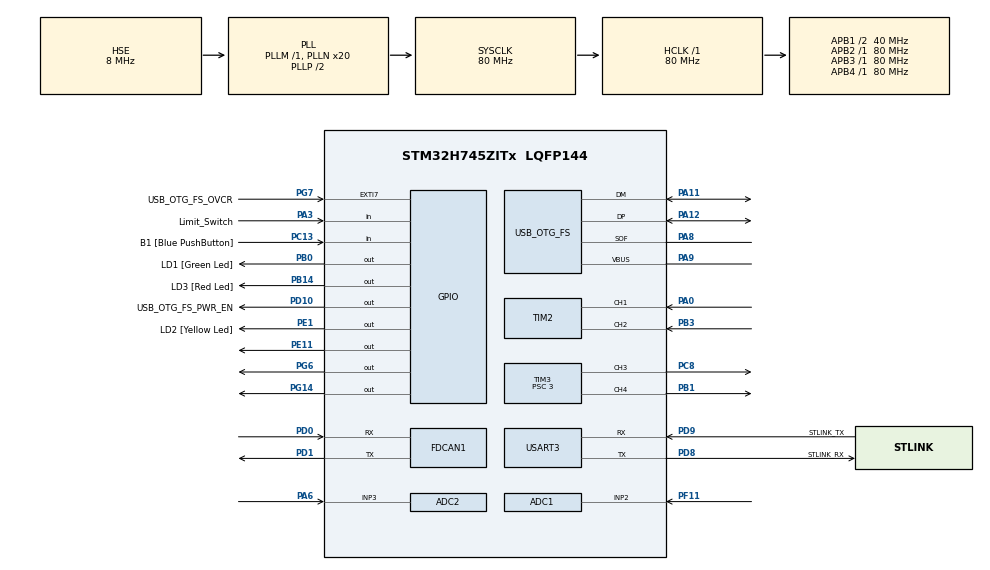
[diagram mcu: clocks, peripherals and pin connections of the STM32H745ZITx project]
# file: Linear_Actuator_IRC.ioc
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ADC1.Channel-0\#ChannelRegularConversion=ADC_CHANNEL_2
ADC1.ContinuousConvMode=ENABLE
ADC1.NbrOfConversionFlag=1
ADC1.OffsetNumber-0\#ChannelRegularConversion=ADC_OFFSET_NONE
ADC1.OffsetSignedSaturation-0\#ChannelRegularConversion=DISABLE
ADC1.Rank-0\#ChannelRegularConversion=1
ADC1.SamplingTime-0\#ChannelRegularConversion=ADC_SAMPLETIME_1CYCLE_5
ADC1.master=1
ADC2.Channel-0\#ChannelRegularConversion=ADC_CHANNEL_3
ADC2.ContinuousConvMode=ENABLE
ADC2.NbrOfConversionFlag=1
ADC2.OffsetNumber-0\#ChannelRegularConversion=ADC_OFFSET_NONE
ADC2.OffsetSignedSaturation-0\#ChannelRegularConversion=DISABLE
ADC2.Rank-0\#ChannelRegularConversion=1
ADC2.SamplingTime-0\#ChannelRegularConversion=ADC_SAMPLETIME_1CYCLE_5
CortexM4.IPs=FATFS_M4\:I,FREERTOS_M4\:I,IWDG2\:I,RCC,WWDG2\:I,DMA,BDMA,MDMA,NVIC2\:I,USART3,ETH,DEBUG,USB_DEVICE_M4\:I,USB_HOST_M4\:I,PDM2PCM_M4\:I,PWR,RESMGR_UTILITY,SYS_M4\:I,CORTEX_M4\:I,OPENAMP_M4\:I,VREFBUF
CortexM7.IPs=FATFS_M7\:I,FREERTOS_M7\:I,IWDG1\:I,RCC\:I,WWDG1\:I,DMA\:I,BDMA\:I,MDMA\:I,NVIC1\:I,SYS\:I,USART3\:I,USB_OTG_FS\:I,ETH\:I,CORTEX_M7\:I,DEBUG\:I,USB_DEVICE_M7\:I,USB_HOST_M7\:I,PDM2PCM_M7\:I,PWR\:I,RESMGR_UTILITY\:I,OPENAMP_M7\:I,VREFBUF\:I,FDCAN1\:I,TIM3\:I,TIM2\:I,ADC1\:I,ADC2\:I
CortexM7.Pins=PC13,PA3,PB0,PE11,PB14,PG6,PG14,PE1
Dma.ADC1.0.Direction=DMA_PERIPH_TO_MEMORY
Dma.ADC1.0.EventEnable=DISABLE
Dma.ADC1.0.FIFOMode=DMA_FIFOMODE_DISABLE
Dma.ADC1.0.Instance=DMA1_Stream0
Dma.ADC1.0.MemDataAlignment=DMA_MDATAALIGN_WORD
Dma.ADC1.0.MemInc=DMA_MINC_ENABLE
Dma.ADC1.0.Mode=DMA_CIRCULAR
Dma.ADC1.0.PeriphDataAlignment=DMA_PDATAALIGN_WORD
Dma.ADC1.0.PeriphInc=DMA_PINC_DISABLE
Dma.ADC1.0.Polarity=HAL_DMAMUX_REQ_GEN_RISING
Dma.ADC1.0.Priority=DMA_PRIORITY_LOW
Dma.ADC1.0.RequestNumber=1
Dma.ADC1.0.SignalID=NONE
Dma.ADC1.0.SyncEnable=DISABLE
Dma.ADC1.0.SyncPolarity=HAL_DMAMUX_SYNC_NO_EVENT
Dma.ADC1.0.SyncRequestNumber=1
Dma.ADC1.0.SyncSignalID=NONE
Dma.ADC2.1.Direction=DMA_PERIPH_TO_MEMORY
Dma.ADC2.1.EventEnable=DISABLE
Dma.ADC2.1.FIFOMode=DMA_FIFOMODE_DISABLE
Dma.ADC2.1.Instance=DMA1_Stream1
Dma.ADC2.1.MemDataAlignment=DMA_MDATAALIGN_HALFWORD
Dma.ADC2.1.MemInc=DMA_MINC_ENABLE
Dma.ADC2.1.Mode=DMA_NORMAL
Dma.ADC2.1.PeriphDataAlignment=DMA_PDATAALIGN_HALFWORD
Dma.ADC2.1.PeriphInc=DMA_PINC_DISABLE
Dma.ADC2.1.Polarity=HAL_DMAMUX_REQ_GEN_RISING
Dma.ADC2.1.Priority=DMA_PRIORITY_LOW
Dma.ADC2.1.RequestNumber=1
Dma.ADC2.1.SignalID=NONE
Dma.ADC2.1.SyncEnable=DISABLE
Dma.ADC2.1.SyncPolarity=HAL_DMAMUX_SYNC_NO_EVENT
Dma.ADC2.1.SyncRequestNumber=1
Dma.ADC2.1.SyncSignalID=NONE
Dma.Request0=ADC1
Dma.Request1=ADC2
FDCAN1.AutoRetransmission=ENABLE
FDCAN1.NominalPrescaler=0x1
FDCAN1.NominalSyncJumpWidth=0x8
FDCAN1.NominalTimeSeg1=0x1F
FDCAN1.NominalTimeSeg2=0x8
FDCAN1.ProtocolException=ENABLE
FDCAN1.RxFifo0ElmtsNbr=1
FDCAN1.StdFiltersNbr=1
FDCAN1.TxFifoQueueElmtsNbr=1
FREERTOS_M7.BinarySemaphores01=controlSempahore,Dynamic,NULL
FREERTOS_M7.Queues01=positionControlQueue,16,position,0,Dynamic,NULL,NULL;positionCanQueue,16,position,0,Dynamic,NULL,NULL;doneQueue,16,status,0,Dynamic,NULL,NULL;systemDiagnosisQueue,16,status,0,Dynamic,NULL,NULL;canDiagnosisQueue,16,status,0,Dynamic,NULL,NULL;desiredPositionQueue,16,position,0,Dynamic,NULL,NULL
FREERTOS_M7.Tasks01=readEncoderTask,24,128,StartEncoderTask,Default,NULL,Dynamic,NULL,NULL;controlTask,24,128,StartControlTask,Default,NULL,Dynamic,NULL,NULL;diagnosisTask,24,128,StartDiagnosisTask,Default,NULL,Dynamic,NULL,NULL;canRxTask,24,128,StartCanRxTask,Default,NULL,Dynamic,NULL,NULL;canTxTask,24,128,StartCanTxTask,Default,NULL,Dynamic,NULL,NULL
Mcu.Family=STM32H7
Mcu.Name=STM32H745ZITx
Mcu.Package=LQFP144
NVIC1.ADC_IRQn=true\:5\:0\:false\:false\:true\:true\:true\:true
NVIC1.DMA1_Stream0_IRQn=true\:5\:0\:false\:false\:true\:true\:false\:true
NVIC1.DMA1_Stream1_IRQn=true\:5\:0\:false\:false\:true\:true\:false\:true
NVIC1.FDCAN1_IT0_IRQn=true\:5\:0\:false\:false\:true\:true\:true\:true
NVIC1.PriorityGroup=NVIC_PRIORITYGROUP_4
NVIC1.TIM2_IRQn=true\:5\:0\:false\:false\:true\:true\:true\:true
NVIC2.PriorityGroup=NVIC_PRIORITYGROUP_4
PA0.GPIO_PuPd=GPIO_PULLUP
PA0.PinAttribute=CortexM7
PA0.Signal=S_TIM2_CH1
PA11.Mode=Device_Only
PA11.PinAttribute=CortexM7
PA11.Signal=USB_OTG_FS_DM
PA12.Mode=Device_Only
PA12.PinAttribute=CortexM7
PA12.Signal=USB_OTG_FS_DP
PA3.GPIO_Label=Limit_Switch
PA3.GPIO_PuPd=GPIO_PULLDOWN
PA3.PinAttribute=CortexM7
PA3.Signal=GPIO_Input
PA6.PinAttribute=CortexM7
PA6.Signal=ADCx_INP3
PA8.Mode=Activate_SOF_FS
PA8.PinAttribute=CortexM7
PA8.Signal=USB_OTG_FS_SOF
PA9.Mode=Activate_VBUS
PA9.PinAttribute=CortexM7
PA9.Signal=USB_OTG_FS_VBUS
PB0.GPIO_Label=LD1 [Green Led]
PB0.PinAttribute=CortexM7
PB0.Signal=GPIO_Output
PB1.PinAttribute=CortexM7
PB1.Signal=S_TIM3_CH4
PB14.GPIO_Label=LD3 [Red Led]
PB14.PinAttribute=CortexM7
PB14.Signal=GPIO_Output
PB3\ (JTDO/TRACESWO).GPIO_PuPd=GPIO_PULLUP
PB3\ (JTDO/TRACESWO).PinAttribute=CortexM7
PB3\ (JTDO/TRACESWO).Signal=S_TIM2_CH2
PC13.GPIO_Label=B1 [Blue PushButton]
PC13.PinAttribute=CortexM7
PC13.Signal=GPIO_Input
PC14-OSC32_IN\ (OSC32_IN).Mode=LSE-External-Oscillator
PC14-OSC32_IN\ (OSC32_IN).PinAttribute=CortexM7
PC14-OSC32_IN\ (OSC32_IN).Signal=RCC_OSC32_IN
PC15-OSC32_OUT\ (OSC32_OUT).Mode=LSE-External-Oscillator
PC15-OSC32_OUT\ (OSC32_OUT).PinAttribute=CortexM7
PC15-OSC32_OUT\ (OSC32_OUT).Signal=RCC_OSC32_OUT
PC8.PinAttribute=CortexM7
PC8.Signal=S_TIM3_CH3
PD0.Mode=FDCAN_Activate
PD0.PinAttribute=CortexM7
PD0.Signal=FDCAN1_RX
PD1.Mode=FDCAN_Activate
PD1.PinAttribute=CortexM7
PD1.Signal=FDCAN1_TX
PD10.GPIO_Label=USB_OTG_FS_PWR_EN
PD10.PinAttribute=Free
PD10.Signal=GPIO_Output
PD8.GPIO_Label=STLINK_RX
PD8.Mode=Asynchronous
PD8.PinAttribute=CortexM7
PD8.Signal=USART3_TX
PD9.GPIO_Label=STLINK_TX
PD9.Mode=Asynchronous
PD9.PinAttribute=CortexM7
PD9.Signal=USART3_RX
PE1.GPIO_Label=LD2 [Yellow Led]
PE1.PinAttribute=CortexM7
PE1.Signal=GPIO_Output
PE11.PinAttribute=CortexM7
PE11.Signal=GPIO_Output
PF11.Mode=IN2-Single-Ended
PF11.PinAttribute=CortexM7
PF11.Signal=ADC1_INP2
PG14.PinAttribute=CortexM7
PG14.Signal=GPIO_Output
PG6.PinAttribute=CortexM7
PG6.Signal=GPIO_Output
PG7.GPIO_Label=USB_OTG_FS_OVCR
PG7.PinAttribute=Free
PG7.Signal=GPXTI7
PH0-OSC_IN\ (PH0).Mode=HSE-External-Clock-Source
PH0-OSC_IN\ (PH0).PinAttribute=CortexM7
PH0-OSC_IN\ (PH0).Signal=RCC_OSC_IN
PH1-OSC_OUT\ (PH1).PinAttribute=CortexM7
PH1-OSC_OUT\ (PH1).Signal=RCC_OSC_OUT
ProjectManager.HeapSize=M4-0x200,M7-0x200
ProjectManager.StackSize=M4-0x400,M7-0x400
ProjectManager.TargetToolchain=STM32CubeIDE
RCC.ADCFreq_Value=37500000
RCC.APB1Freq_Value=40000000
RCC.APB2Freq_Value=80000000
RCC.APB3Freq_Value=80000000
RCC.APB4Freq_Value=80000000
RCC.CortexFreq_Value=80000000
RCC.D2PPRE1=RCC_APB1_DIV2
RCC.DIVM1=1
RCC.DIVM2=1
RCC.DIVM3=1
RCC.DIVN1=20
RCC.DIVN2=18
RCC.DIVN3=18
RCC.DIVP2=4
RCC.DIVQ1=4
RCC.DIVQ3=3
RCC.HCLKFreq_Value=80000000
RCC.HSE_VALUE=8000000
RCC.PLL2FRACN=6144
RCC.PLL3FRACN=6144
RCC.PLL3_VCI_Range-AdvancedSettings=RCC_PLL3VCIRANGE_0
RCC.PLLFRACN=0
RCC.SYSCLKFreq_VALUE=80000000
RCC.SYSCLKSource=RCC_SYSCLKSOURCE_PLLCLK
RCC.SupplySource=PWR_DIRECT_SMPS_SUPPLY
RCC.USBCLockSelection=RCC_USBCLKSOURCE_PLL3
RCC.USBFreq_Value=50000000
SH.ADCx_INP3.0=ADC2_INP3,IN3-Single-Ended
SH.S_TIM2_CH1.0=TIM2_CH1,Encoder_Interface
SH.S_TIM2_CH2.0=TIM2_CH2,Encoder_Interface
SH.S_TIM3_CH3.0=TIM3_CH3,PWM Generation3 CH3
SH.S_TIM3_CH4.0=TIM3_CH4,PWM Generation4 CH4
TIM2.IC1Filter=10
TIM2.IC2Filter=10
TIM3.Channel-PWM\ Generation3\ CH3=TIM_CHANNEL_3
TIM3.Channel-PWM\ Generation4\ CH4=TIM_CHANNEL_4
TIM3.Period=999
TIM3.Prescaler=3
USART3.VirtualMode-Asynchronous=VM_ASYNC
USB_OTG_FS.VirtualMode=Device_Only
VP_FREERTOS_M7_VS_CMSIS_V2.Mode=CMSIS_V2
VP_SYS_M4_VS_Systick.Mode=SysTick
board=NUCLEO-H745ZI-Q

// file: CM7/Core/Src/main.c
/* USER CODE BEGIN Header */
/**
 ******************************************************************************
 * @file           : main.c
 * @brief          : Main program body
 ******************************************************************************
 * @attention
 *
 * <h2><center>&copy; Copyright (c) 2021 STMicroelectronics.
 * All rights reserved.</center></h2>
 *
 * This software component is licensed by ST under Ultimate Liberty license
 * SLA0044, the "License"; You may not use this file except in compliance with
 * the License. You may obtain a copy of the License at:
 *                             www.st.com/SLA0044
 *
 ******************************************************************************
 */
/* USER CODE END Header */
#include "main.h"
#include "cmsis_os.h"

/* USER CODE BEGIN Includes */
#include <string.h>
/* USER CODE END Includes */

/* USER CODE BEGIN PD */
#define forwardPWM TIM_CHANNEL_3
#define reversePWM TIM_CHANNEL_4

#ifndef HSEM_ID_0
#define HSEM_ID_0 (0U) /* HW semaphore 0*/
#endif
/* USER CODE END PD */

ADC_HandleTypeDef hadc1;
ADC_HandleTypeDef hadc2;
DMA_HandleTypeDef hdma_adc1;
DMA_HandleTypeDef hdma_adc2;

FDCAN_HandleTypeDef hfdcan1;

TIM_HandleTypeDef htim2;
TIM_HandleTypeDef htim3;

UART_HandleTypeDef huart3;

PCD_HandleTypeDef hpcd_USB_OTG_FS;

/* Definitions for readEncoderTask */
osThreadId_t readEncoderTaskHandle;
const osThreadAttr_t readEncoderTask_attributes = {
  .name = "readEncoderTask",
  .stack_size = 128 * 4,
  .priority = (osPriority_t) osPriorityNormal,
};
/* Definitions for controlTask */
osThreadId_t controlTaskHandle;
const osThreadAttr_t controlTask_attributes = {
  .name = "controlTask",
  .stack_size = 128 * 4,
  .priority = (osPriority_t) osPriorityAboveNormal,
};
/* Definitions for diagnosisTask */
osThreadId_t diagnosisTaskHandle;
const osThreadAttr_t diagnosisTask_attributes = {
  .name = "diagnosisTask",
  .stack_size = 128 * 4,
  .priority = (osPriority_t) osPriorityNormal,
};
/* Definitions for canRxTask */
osThreadId_t canRxTaskHandle;
const osThreadAttr_t canRxTask_attributes = {
  .name = "canRxTask",
  .stack_size = 128 * 4,
  .priority = (osPriority_t) osPriorityNormal,
};
/* Definitions for canTxTask */
osThreadId_t canTxTaskHandle;
const osThreadAttr_t canTxTask_attributes = {
  .name = "canTxTask",
  .stack_size = 128 * 4,
  .priority = (osPriority_t) osPriorityNormal,
};
/* Definitions for positionControlQueue */
osMessageQueueId_t positionControlQueueHandle;
const osMessageQueueAttr_t positionControlQueue_attributes = {
  .name = "positionControlQueue"
};
/* Definitions for positionCanQueue */
osMessageQueueId_t positionCanQueueHandle;
const osMessageQueueAttr_t positionCanQueue_attributes = {
  .name = "positionCanQueue"
};
/* Definitions for doneQueue */
osMessageQueueId_t doneQueueHandle;
const osMessageQueueAttr_t doneQueue_attributes = {
  .name = "doneQueue"
};
/* Definitions for systemDiagnosisQueue */
osMessageQueueId_t systemDiagnosisQueueHandle;
const osMessageQueueAttr_t systemDiagnosisQueue_attributes = {
  .name = "systemDiagnosisQueue"
};
/* Definitions for canDiagnosisQueue */
osMessageQueueId_t canDiagnosisQueueHandle;
const osMessageQueueAttr_t canDiagnosisQueue_attributes = {
  .name = "canDiagnosisQueue"
};
/* Definitions for desiredPositionQueue */
osMessageQueueId_t desiredPositionQueueHandle;
const osMessageQueueAttr_t desiredPositionQueue_attributes = {
  .name = "desiredPositionQueue"
};
/* Definitions for controlSempahore */
osSemaphoreId_t controlSempahoreHandle;
const osSemaphoreAttr_t controlSempahore_attributes = {
  .name = "controlSempahore"
};
/* USER CODE BEGIN PV */

//FDCAN variables
FDCAN_RxHeaderTypeDef RxHeader;
uint8_t RxData[8];
FDCAN_TxHeaderTypeDef TxHeader;
uint8_t TxData[8] = {'J', ' ', 'D', 'E', 'E', 'R', 'E', '.'};
uint8_t TxDataInit[8] = {' ', ' ', ' ', ' ', ' ', ' ', ' ', ' '};
uint8_t TxDataError[8] = {0x00, 0x00, 0x00, 0xFF, 0xFF, 0x00, 0x00, 0x00};
uint8_t TxDataPos[8] = {0x00, 0x00, 0x00, 0x00, 0x00, 0x00, 0x00, 0x00};
FDCAN_FilterTypeDef sFilterConfig;

//ADC reeding variables
uint32_t adc_vol;
uint32_t adc_cor;
float current;
float voltage;
float maxValue;
float minValue;

//Encoder reeding variables
//Conv is the distance per rotation (in mm) of the arrow dividen by 2
//This is because the encoder mode is couting 2 by one step
uint16_t conv = 4;
//ppr is the number of steps to complete one revolution with the reduction
uint16_t ppr = 497;

typedef struct {                                // object data type
	uint16_t pos;
} position;

typedef struct{
	uint16_t statusflag;
} status;

/* USER CODE END PV */

void SystemClock_Config(void);
void PeriphCommonClock_Config(void);
static void MX_GPIO_Init(void);
static void MX_FDCAN1_Init(void);
static void MX_TIM2_Init(void);
static void MX_TIM3_Init(void);
static void MX_USART3_UART_Init(void);
static void MX_USB_OTG_FS_PCD_Init(void);
static void MX_DMA_Init(void);
static void MX_ADC1_Init(void);
static void MX_ADC2_Init(void);
void StartEncoderTask(void *argument);
void StartControlTask(void *argument);
void StartDiagnosisTask(void *argument);
void StartCanRxTask(void *argument);
void StartCanTxTask(void *argument);

/* USER CODE BEGIN PFP */

void GoHome(void);
void setPWM(TIM_HandleTypeDef, uint32_t, uint16_t, uint16_t);

/* USER CODE END PFP */

int main(void)
{
/* USER CODE BEGIN Boot_Mode_Sequence_0 */
	int32_t timeout;
/* USER CODE END Boot_Mode_Sequence_0 */

/* USER CODE BEGIN Boot_Mode_Sequence_1 */
	/* Wait until CPU2 boots and enters in stop mode or timeout*/
	timeout = 0xFFFF;
	while ((__HAL_RCC_GET_FLAG(RCC_FLAG_D2CKRDY) != RESET) && (timeout-- > 0))
		;
	if (timeout < 0) {
		Error_Handler();
	}
/* USER CODE END Boot_Mode_Sequence_1 */
  /* MCU Configuration--------------------------------------------------------*/

  /* Reset of all peripherals, Initializes the Flash interface and the Systick. */
  HAL_Init();

  /* Configure the system clock */
  SystemClock_Config();

/* Configure the peripherals common clocks */
  PeriphCommonClock_Config();
/* USER CODE BEGIN Boot_Mode_Sequence_2 */
	/* When system initialization is finished, Cortex-M7 will release Cortex-M4 by means of
	 HSEM notification */
	/*HW semaphore Clock enable*/
	__HAL_RCC_HSEM_CLK_ENABLE();
	/*Take HSEM */
	HAL_HSEM_FastTake(HSEM_ID_0);
	/*Release HSEM in order to notify the CPU2(CM4)*/
	HAL_HSEM_Release(HSEM_ID_0, 0);
	/* wait until CPU2 wakes up from stop mode */
	timeout = 0xFFFF;
	while ((__HAL_RCC_GET_FLAG(RCC_FLAG_D2CKRDY) == RESET) && (timeout-- > 0))
		;
	if (timeout < 0) {
		Error_Handler();
	}
/* USER CODE END Boot_Mode_Sequence_2 */

  /* Initialize all configured peripherals */
  MX_GPIO_Init();
  MX_FDCAN1_Init();
  MX_TIM2_Init();
  MX_TIM3_Init();
  MX_USART3_UART_Init();
  MX_USB_OTG_FS_PCD_Init();
  MX_DMA_Init();
  MX_ADC1_Init();
  MX_ADC2_Init();
  /* USER CODE BEGIN 2 */

	for(int i=0; i<2; i++){
		HAL_GPIO_TogglePin(LD1_GPIO_Port,LD1_Pin);
		if (HAL_FDCAN_AddMessageToTxFifoQ(&hfdcan1, &TxHeader, TxDataInit) != HAL_OK){
			Error_Handler();
		}
		else{
			HAL_GPIO_TogglePin(LD3_GPIO_Port,LD3_Pin);
		}
		HAL_Delay(500);

	}

	GoHome();

  /* USER CODE END 2 */

  /* Init scheduler */
  osKernelInitialize();

  /* Create the semaphores(s) */
  /* creation of controlSempahore */
  controlSempahoreHandle = osSemaphoreNew(1, 1, &controlSempahore_attributes);

  /* Create the queue(s) */
  /* creation of positionControlQueue */
  positionControlQueueHandle = osMessageQueueNew (16, sizeof(position), &positionControlQueue_attributes);

  /* creation of positionCanQueue */
  positionCanQueueHandle = osMessageQueueNew (16, sizeof(position), &positionCanQueue_attributes);

  /* creation of doneQueue */
  doneQueueHandle = osMessageQueueNew (16, sizeof(status), &doneQueue_attributes);

  /* creation of systemDiagnosisQueue */
  systemDiagnosisQueueHandle = osMessageQueueNew (16, sizeof(status), &systemDiagnosisQueue_attributes);

  /* creation of canDiagnosisQueue */
  canDiagnosisQueueHandle = osMessageQueueNew (16, sizeof(status), &canDiagnosisQueue_attributes);

  /* creation of desiredPositionQueue */
  desiredPositionQueueHandle = osMessageQueueNew (16, sizeof(position), &desiredPositionQueue_attributes);

  /* Create the thread(s) */
  /* creation of readEncoderTask */
  readEncoderTaskHandle = osThreadNew(StartEncoderTask, NULL, &readEncoderTask_attributes);

  /* creation of controlTask */
  controlTaskHandle = osThreadNew(StartControlTask, NULL, &controlTask_attributes);

  /* creation of diagnosisTask */
  diagnosisTaskHandle = osThreadNew(StartDiagnosisTask, NULL, &diagnosisTask_attributes);

  /* creation of canRxTask */
  canRxTaskHandle = osThreadNew(StartCanRxTask, NULL, &canRxTask_attributes);

  /* creation of canTxTask */
  canTxTaskHandle = osThreadNew(StartCanTxTask, NULL, &canTxTask_attributes);

  /* Start scheduler */
  osKernelStart();

  /* We should never get here as control is now taken by the scheduler */
  /* Infinite loop */
	while (1) {

	}
}

void SystemClock_Config(void)
{
  RCC_OscInitTypeDef RCC_OscInitStruct = {0};
  RCC_ClkInitTypeDef RCC_ClkInitStruct = {0};

  /** Supply configuration update enable
  */
  HAL_PWREx_ConfigSupply(PWR_DIRECT_SMPS_SUPPLY);
  /** Configure the main internal regulator output voltage
  */
  __HAL_PWR_VOLTAGESCALING_CONFIG(PWR_REGULATOR_VOLTAGE_SCALE3);

  while(!__HAL_PWR_GET_FLAG(PWR_FLAG_VOSRDY)) {}
  /** Macro to configure the PLL clock source
  */
  __HAL_RCC_PLL_PLLSOURCE_CONFIG(RCC_PLLSOURCE_HSE);
  /** Initializes the RCC Oscillators according to the specified parameters
  * in the RCC_OscInitTypeDef structure.
  */
  RCC_OscInitStruct.OscillatorType = RCC_OSCILLATORTYPE_HSE;
  RCC_OscInitStruct.HSEState = RCC_HSE_BYPASS;
  RCC_OscInitStruct.PLL.PLLState = RCC_PLL_ON;
  RCC_OscInitStruct.PLL.PLLSource = RCC_PLLSOURCE_HSE;
  RCC_OscInitStruct.PLL.PLLM = 1;
  RCC_OscInitStruct.PLL.PLLN = 20;
  RCC_OscInitStruct.PLL.PLLP = 2;
  RCC_OscInitStruct.PLL.PLLQ = 4;
  RCC_OscInitStruct.PLL.PLLR = 2;
  RCC_OscInitStruct.PLL.PLLRGE = RCC_PLL1VCIRANGE_3;
  RCC_OscInitStruct.PLL.PLLVCOSEL = RCC_PLL1VCOMEDIUM;
  RCC_OscInitStruct.PLL.PLLFRACN = 0;
  if (HAL_RCC_OscConfig(&RCC_OscInitStruct) != HAL_OK)
  {
    Error_Handler();
  }
  /** Initializes the CPU, AHB and APB buses clocks
  */
  RCC_ClkInitStruct.ClockType = RCC_CLOCKTYPE_HCLK|RCC_CLOCKTYPE_SYSCLK
                              |RCC_CLOCKTYPE_PCLK1|RCC_CLOCKTYPE_PCLK2
                              |RCC_CLOCKTYPE_D3PCLK1|RCC_CLOCKTYPE_D1PCLK1;
  RCC_ClkInitStruct.SYSCLKSource = RCC_SYSCLKSOURCE_PLLCLK;
  RCC_ClkInitStruct.SYSCLKDivider = RCC_SYSCLK_DIV1;
  RCC_ClkInitStruct.AHBCLKDivider = RCC_HCLK_DIV1;
  RCC_ClkInitStruct.APB3CLKDivider = RCC_APB3_DIV1;
  RCC_ClkInitStruct.APB1CLKDivider = RCC_APB1_DIV2;
  RCC_ClkInitStruct.APB2CLKDivider = RCC_APB2_DIV1;
  RCC_ClkInitStruct.APB4CLKDivider = RCC_APB4_DIV1;

  if (HAL_RCC_ClockConfig(&RCC_ClkInitStruct, FLASH_LATENCY_1) != HAL_OK)
  {
    Error_Handler();
  }
}

void PeriphCommonClock_Config(void)
{
  RCC_PeriphCLKInitTypeDef PeriphClkInitStruct = {0};

  /** Initializes the peripherals clock
  */
  PeriphClkInitStruct.PeriphClockSelection = RCC_PERIPHCLK_ADC;
  PeriphClkInitStruct.PLL2.PLL2M = 1;
  PeriphClkInitStruct.PLL2.PLL2N = 18;
  PeriphClkInitStruct.PLL2.PLL2P = 4;
  PeriphClkInitStruct.PLL2.PLL2Q = 2;
  PeriphClkInitStruct.PLL2.PLL2R = 2;
  PeriphClkInitStruct.PLL2.PLL2RGE = RCC_PLL2VCIRANGE_3;
  PeriphClkInitStruct.PLL2.PLL2VCOSEL = RCC_PLL2VCOMEDIUM;
  PeriphClkInitStruct.PLL2.PLL2FRACN = 6144;
  PeriphClkInitStruct.AdcClockSelection = RCC_ADCCLKSOURCE_PLL2;
  if (HAL_RCCEx_PeriphCLKConfig(&PeriphClkInitStruct) != HAL_OK)
  {
    Error_Handler();
  }
}

static void MX_ADC1_Init(void)
{

  ADC_MultiModeTypeDef multimode = {0};
  ADC_ChannelConfTypeDef sConfig = {0};

  /** Common config
  */
  hadc1.Instance = ADC1;
  hadc1.Init.ClockPrescaler = ADC_CLOCK_ASYNC_DIV1;
  hadc1.Init.Resolution = ADC_RESOLUTION_16B;
  hadc1.Init.ScanConvMode = ADC_SCAN_DISABLE;
  hadc1.Init.EOCSelection = ADC_EOC_SINGLE_CONV;
  hadc1.Init.LowPowerAutoWait = DISABLE;
  hadc1.Init.ContinuousConvMode = ENABLE;
  hadc1.Init.NbrOfConversion = 1;
  hadc1.Init.DiscontinuousConvMode = DISABLE;
  hadc1.Init.ExternalTrigConv = ADC_SOFTWARE_START;
  hadc1.Init.ExternalTrigConvEdge = ADC_EXTERNALTRIGCONVEDGE_NONE;
  hadc1.Init.ConversionDataManagement = ADC_CONVERSIONDATA_DR;
  hadc1.Init.Overrun = ADC_OVR_DATA_PRESERVED;
  hadc1.Init.LeftBitShift = ADC_LEFTBITSHIFT_NONE;
  hadc1.Init.OversamplingMode = DISABLE;
  if (HAL_ADC_Init(&hadc1) != HAL_OK)
  {
    Error_Handler();
  }
  /** Configure the ADC multi-mode
  */
  multimode.Mode = ADC_MODE_INDEPENDENT;
  if (HAL_ADCEx_MultiModeConfigChannel(&hadc1, &multimode) != HAL_OK)
  {
    Error_Handler();
  }
  /** Configure Regular Channel
  */
  sConfig.Channel = ADC_CHANNEL_2;
  sConfig.Rank = ADC_REGULAR_RANK_1;
  sConfig.SamplingTime = ADC_SAMPLETIME_1CYCLE_5;
  sConfig.SingleDiff = ADC_SINGLE_ENDED;
  sConfig.OffsetNumber = ADC_OFFSET_NONE;
  sConfig.Offset = 0;
  sConfig.OffsetSignedSaturation = DISABLE;
  if (HAL_ADC_ConfigChannel(&hadc1, &sConfig) != HAL_OK)
  {
    Error_Handler();
  }

}

static void MX_ADC2_Init(void)
{

  ADC_ChannelConfTypeDef sConfig = {0};

  /** Common config
  */
  hadc2.Instance = ADC2;
  hadc2.Init.ClockPrescaler = ADC_CLOCK_ASYNC_DIV1;
  hadc2.Init.Resolution = ADC_RESOLUTION_16B;
  hadc2.Init.ScanConvMode = ADC_SCAN_DISABLE;
  hadc2.Init.EOCSelection = ADC_EOC_SINGLE_CONV;
  hadc2.Init.LowPowerAutoWait = DISABLE;
  hadc2.Init.ContinuousConvMode = ENABLE;
  hadc2.Init.NbrOfConversion = 1;
  hadc2.Init.DiscontinuousConvMode = DISABLE;
  hadc2.Init.ExternalTrigConv = ADC_SOFTWARE_START;
  hadc2.Init.ExternalTrigConvEdge = ADC_EXTERNALTRIGCONVEDGE_NONE;
  hadc2.Init.ConversionDataManagement = ADC_CONVERSIONDATA_DR;
  hadc2.Init.Overrun = ADC_OVR_DATA_PRESERVED;
  hadc2.Init.LeftBitShift = ADC_LEFTBITSHIFT_NONE;
  hadc2.Init.OversamplingMode = DISABLE;
  if (HAL_ADC_Init(&hadc2) != HAL_OK)
  {
    Error_Handler();
  }
  /** Configure Regular Channel
  */
  sConfig.Channel = ADC_CHANNEL_3;
  sConfig.Rank = ADC_REGULAR_RANK_1;
  sConfig.SamplingTime = ADC_SAMPLETIME_1CYCLE_5;
  sConfig.SingleDiff = ADC_SINGLE_ENDED;
  sConfig.OffsetNumber = ADC_OFFSET_NONE;
  sConfig.Offset = 0;
  sConfig.OffsetSignedSaturation = DISABLE;
  if (HAL_ADC_ConfigChannel(&hadc2, &sConfig) != HAL_OK)
  {
    Error_Handler();
  }

}

static void MX_FDCAN1_Init(void)
{

  hfdcan1.Instance = FDCAN1;
  hfdcan1.Init.FrameFormat = FDCAN_FRAME_CLASSIC;
  hfdcan1.Init.Mode = FDCAN_MODE_NORMAL;
  hfdcan1.Init.AutoRetransmission = ENABLE;
  hfdcan1.Init.TransmitPause = DISABLE;
  hfdcan1.Init.ProtocolException = ENABLE;
  hfdcan1.Init.NominalPrescaler = 0x1;
  hfdcan1.Init.NominalSyncJumpWidth = 0x8;
  hfdcan1.Init.NominalTimeSeg1 = 0x1F;
  hfdcan1.Init.NominalTimeSeg2 = 0x8;
  hfdcan1.Init.DataPrescaler = 1;
  hfdcan1.Init.DataSyncJumpWidth = 1;
  hfdcan1.Init.DataTimeSeg1 = 1;
  hfdcan1.Init.DataTimeSeg2 = 1;
  hfdcan1.Init.MessageRAMOffset = 0;
  hfdcan1.Init.StdFiltersNbr = 1;
  hfdcan1.Init.ExtFiltersNbr = 0;
  hfdcan1.Init.RxFifo0ElmtsNbr = 1;
  hfdcan1.Init.RxFifo0ElmtSize = FDCAN_DATA_BYTES_8;
  hfdcan1.Init.RxFifo1ElmtsNbr = 0;
  hfdcan1.Init.RxFifo1ElmtSize = FDCAN_DATA_BYTES_8;
  hfdcan1.Init.RxBuffersNbr = 0;
  hfdcan1.Init.RxBufferSize = FDCAN_DATA_BYTES_8;
  hfdcan1.Init.TxEventsNbr = 0;
  hfdcan1.Init.TxBuffersNbr = 0;
  hfdcan1.Init.TxFifoQueueElmtsNbr = 1;
  hfdcan1.Init.TxFifoQueueMode = FDCAN_TX_FIFO_OPERATION;
  hfdcan1.Init.TxElmtSize = FDCAN_DATA_BYTES_8;
  if (HAL_FDCAN_Init(&hfdcan1) != HAL_OK)
  {
    Error_Handler();
  }
  /* USER CODE BEGIN FDCAN1_Init 2 */
	/* Configure Rx filter */
	sFilterConfig.IdType = FDCAN_STANDARD_ID;
	sFilterConfig.FilterIndex = 0;
	sFilterConfig.FilterType = FDCAN_FILTER_MASK;
	sFilterConfig.FilterConfig = FDCAN_FILTER_TO_RXFIFO0;
	sFilterConfig.FilterID1 = 0x140;
	sFilterConfig.FilterID2 = 0x7FF;
	if (HAL_FDCAN_ConfigFilter(&hfdcan1, &sFilterConfig) != HAL_OK)
	{
	  /* Filter configuration Error */
	  Error_Handler();
	}

	 /* Start the FDCAN module */
	if (HAL_FDCAN_Start(&hfdcan1) != HAL_OK)
	    /* Start Error */

	if (HAL_FDCAN_ActivateNotification(&hfdcan1, FDCAN_IT_RX_FIFO0_NEW_MESSAGE, 0) != HAL_OK)
	    /* Notification Error */

	  /* Prepare Tx Header */
	TxHeader.IdType = FDCAN_STANDARD_ID;
	TxHeader.Identifier = 0x140;
	TxHeader.TxFrameType = FDCAN_DATA_FRAME;
	TxHeader.DataLength = FDCAN_DLC_BYTES_8;
	TxHeader.ErrorStateIndicator = FDCAN_ESI_ACTIVE;
	TxHeader.BitRateSwitch = FDCAN_BRS_OFF;
	TxHeader.FDFormat = FDCAN_CLASSIC_CAN;
	TxHeader.TxEventFifoControl = FDCAN_NO_TX_EVENTS;
	TxHeader.MessageMarker = 0;
  /* USER CODE END FDCAN1_Init 2 */

}

static void MX_TIM2_Init(void)
{

  TIM_Encoder_InitTypeDef sConfig = {0};
  TIM_MasterConfigTypeDef sMasterConfig = {0};

  htim2.Instance = TIM2;
  htim2.Init.Prescaler = 0;
  htim2.Init.CounterMode = TIM_COUNTERMODE_UP;
  htim2.Init.Period = 4294967295;
  htim2.Init.ClockDivision = TIM_CLOCKDIVISION_DIV1;
  htim2.Init.AutoReloadPreload = TIM_AUTORELOAD_PRELOAD_DISABLE;
  sConfig.EncoderMode = TIM_ENCODERMODE_TI1;
  sConfig.IC1Polarity = TIM_ICPOLARITY_RISING;
  sConfig.IC1Selection = TIM_ICSELECTION_DIRECTTI;
  sConfig.IC1Prescaler = TIM_ICPSC_DIV1;
  sConfig.IC1Filter = 10;
  sConfig.IC2Polarity = TIM_ICPOLARITY_RISING;
  sConfig.IC2Selection = TIM_ICSELECTION_DIRECTTI;
  sConfig.IC2Prescaler = TIM_ICPSC_DIV1;
  sConfig.IC2Filter = 10;
  if (HAL_TIM_Encoder_Init(&htim2, &sConfig) != HAL_OK)
  {
    Error_Handler();
  }
  sMasterConfig.MasterOutputTrigger = TIM_TRGO_RESET;
  sMasterConfig.MasterSlaveMode = TIM_MASTERSLAVEMODE_DISABLE;
  if (HAL_TIMEx_MasterConfigSynchronization(&htim2, &sMasterConfig) != HAL_OK)
  {
    Error_Handler();
  }

}

static void MX_TIM3_Init(void)
{

  TIM_MasterConfigTypeDef sMasterConfig = {0};
  TIM_OC_InitTypeDef sConfigOC = {0};

  htim3.Instance = TIM3;
  htim3.Init.Prescaler = 3;
  htim3.Init.CounterMode = TIM_COUNTERMODE_UP;
  htim3.Init.Period = 999;
  htim3.Init.ClockDivision = TIM_CLOCKDIVISION_DIV1;
  htim3.Init.AutoReloadPreload = TIM_AUTORELOAD_PRELOAD_DISABLE;
  if (HAL_TIM_PWM_Init(&htim3) != HAL_OK)
  {
    Error_Handler();
  }
  sMasterConfig.MasterOutputTrigger = TIM_TRGO_RESET;
  sMasterConfig.MasterSlaveMode = TIM_MASTERSLAVEMODE_DISABLE;
  if (HAL_TIMEx_MasterConfigSynchronization(&htim3, &sMasterConfig) != HAL_OK)
  {
    Error_Handler();
  }
  sConfigOC.OCMode = TIM_OCMODE_PWM1;
  sConfigOC.Pulse = 0;
  sConfigOC.OCPolarity = TIM_OCPOLARITY_HIGH;
  sConfigOC.OCFastMode = TIM_OCFAST_DISABLE;
  if (HAL_TIM_PWM_ConfigChannel(&htim3, &sConfigOC, TIM_CHANNEL_3) != HAL_OK)
  {
    Error_Handler();
  }
  if (HAL_TIM_PWM_ConfigChannel(&htim3, &sConfigOC, TIM_CHANNEL_4) != HAL_OK)
  {
    Error_Handler();
  }
  HAL_TIM_MspPostInit(&htim3);

}

static void MX_USART3_UART_Init(void)
{

  huart3.Instance = USART3;
  huart3.Init.BaudRate = 115200;
  huart3.Init.WordLength = UART_WORDLENGTH_8B;
  huart3.Init.StopBits = UART_STOPBITS_1;
  huart3.Init.Parity = UART_PARITY_NONE;
  huart3.Init.Mode = UART_MODE_TX_RX;
  huart3.Init.HwFlowCtl = UART_HWCONTROL_NONE;
  huart3.Init.OverSampling = UART_OVERSAMPLING_16;
  huart3.Init.OneBitSampling = UART_ONE_BIT_SAMPLE_DISABLE;
  huart3.Init.ClockPrescaler = UART_PRESCALER_DIV1;
  huart3.AdvancedInit.AdvFeatureInit = UART_ADVFEATURE_NO_INIT;
  if (HAL_UART_Init(&huart3) != HAL_OK)
  {
    Error_Handler();
  }
  if (HAL_UARTEx_SetTxFifoThreshold(&huart3, UART_TXFIFO_THRESHOLD_1_8) != HAL_OK)
  {
    Error_Handler();
  }
  if (HAL_UARTEx_SetRxFifoThreshold(&huart3, UART_RXFIFO_THRESHOLD_1_8) != HAL_OK)
  {
    Error_Handler();
  }
  if (HAL_UARTEx_DisableFifoMode(&huart3) != HAL_OK)
  {
    Error_Handler();
  }

}

static void MX_USB_OTG_FS_PCD_Init(void)
{

  hpcd_USB_OTG_FS.Instance = USB_OTG_FS;
  hpcd_USB_OTG_FS.Init.dev_endpoints = 9;
  hpcd_USB_OTG_FS.Init.speed = PCD_SPEED_FULL;
  hpcd_USB_OTG_FS.Init.dma_enable = DISABLE;
  hpcd_USB_OTG_FS.Init.phy_itface = PCD_PHY_EMBEDDED;
  hpcd_USB_OTG_FS.Init.Sof_enable = DISABLE;
  hpcd_USB_OTG_FS.Init.low_power_enable = DISABLE;
  hpcd_USB_OTG_FS.Init.lpm_enable = DISABLE;
  hpcd_USB_OTG_FS.Init.battery_charging_enable = ENABLE;
  hpcd_USB_OTG_FS.Init.vbus_sensing_enable = ENABLE;
  hpcd_USB_OTG_FS.Init.use_dedicated_ep1 = DISABLE;
  if (HAL_PCD_Init(&hpcd_USB_OTG_FS) != HAL_OK)
  {
    Error_Handler();
  }

}

static void MX_DMA_Init(void)
{

  /* DMA controller clock enable */
  __HAL_RCC_DMA1_CLK_ENABLE();

  /* DMA interrupt init */
  /* DMA1_Stream0_IRQn interrupt configuration */
  HAL_NVIC_SetPriority(DMA1_Stream0_IRQn, 5, 0);
  HAL_NVIC_EnableIRQ(DMA1_Stream0_IRQn);
  /* DMA1_Stream1_IRQn interrupt configuration */
  HAL_NVIC_SetPriority(DMA1_Stream1_IRQn, 5, 0);
  HAL_NVIC_EnableIRQ(DMA1_Stream1_IRQn);

}

static void MX_GPIO_Init(void)
{
  GPIO_InitTypeDef GPIO_InitStruct = {0};

  /* GPIO Ports Clock Enable */
  __HAL_RCC_GPIOC_CLK_ENABLE();
  __HAL_RCC_GPIOH_CLK_ENABLE();
  __HAL_RCC_GPIOA_CLK_ENABLE();
  __HAL_RCC_GPIOB_CLK_ENABLE();
  __HAL_RCC_GPIOF_CLK_ENABLE();
  __HAL_RCC_GPIOE_CLK_ENABLE();
  __HAL_RCC_GPIOD_CLK_ENABLE();
  __HAL_RCC_GPIOG_CLK_ENABLE();

  /*Configure GPIO pin Output Level */
  HAL_GPIO_WritePin(GPIOB, LD1_Pin|LD3_Pin, GPIO_PIN_RESET);

  /*Configure GPIO pin Output Level */
  HAL_GPIO_WritePin(GPIOE, GPIO_PIN_11|LD2_Pin, GPIO_PIN_RESET);

  /*Configure GPIO pin Output Level */
  HAL_GPIO_WritePin(GPIOG, GPIO_PIN_6|GPIO_PIN_14, GPIO_PIN_RESET);

  /*Configure GPIO pin : B1_Pin */
  GPIO_InitStruct.Pin = B1_Pin;
  GPIO_InitStruct.Mode = GPIO_MODE_INPUT;
  GPIO_InitStruct.Pull = GPIO_NOPULL;
  HAL_GPIO_Init(B1_GPIO_Port, &GPIO_InitStruct);

  /*Configure GPIO pin : Limit_Switch_Pin */
  GPIO_InitStruct.Pin = Limit_Switch_Pin;
  GPIO_InitStruct.Mode = GPIO_MODE_INPUT;
  GPIO_InitStruct.Pull = GPIO_PULLDOWN;
  HAL_GPIO_Init(Limit_Switch_GPIO_Port, &GPIO_InitStruct);

  /*Configure GPIO pins : LD1_Pin LD3_Pin */
  GPIO_InitStruct.Pin = LD1_Pin|LD3_Pin;
  GPIO_InitStruct.Mode = GPIO_MODE_OUTPUT_PP;
  GPIO_InitStruct.Pull = GPIO_NOPULL;
  GPIO_InitStruct.Speed = GPIO_SPEED_FREQ_LOW;
  HAL_GPIO_Init(GPIOB, &GPIO_InitStruct);

  /*Configure GPIO pins : PE11 LD2_Pin */
  GPIO_InitStruct.Pin = GPIO_PIN_11|LD2_Pin;
  GPIO_InitStruct.Mode = GPIO_MODE_OUTPUT_PP;
  GPIO_InitStruct.Pull = GPIO_NOPULL;
  GPIO_InitStruct.Speed = GPIO_SPEED_FREQ_LOW;
  HAL_GPIO_Init(GPIOE, &GPIO_InitStruct);

  /*Configure GPIO pins : PG6 PG14 */
  GPIO_InitStruct.Pin = GPIO_PIN_6|GPIO_PIN_14;
  GPIO_InitStruct.Mode = GPIO_MODE_OUTPUT_PP;
  GPIO_InitStruct.Pull = GPIO_NOPULL;
  GPIO_InitStruct.Speed = GPIO_SPEED_FREQ_LOW;
  HAL_GPIO_Init(GPIOG, &GPIO_InitStruct);

}

/* USER CODE BEGIN 4 */

void GoHome(void) {
	//Stop Encoder
	HAL_TIM_Encoder_Stop(&htim2, TIM_CHANNEL_ALL);

	uint8_t MSG[50] = { '\0' };
	sprintf(MSG, "Limit Switch pressed\n");

	//Move motor backwards
	setPWM(htim3, reversePWM, 255, 255);
	setPWM(htim3, forwardPWM, 255, 0);

	//Wait until limit switch is pressed
	while (HAL_GPIO_ReadPin(Limit_Switch_GPIO_Port, Limit_Switch_Pin))
		;

	HAL_UART_Transmit(&huart3, MSG, sizeof(MSG), 100);

	//Move the actuator 2 cm forward
	setPWM(htim3, reversePWM, 255, 0);
	setPWM(htim3, forwardPWM, 255, 255);
	int32_t steps;
	float cm = 0;
	HAL_TIM_Encoder_Start(&htim2, TIM_CHANNEL_ALL);
	//Set encoder to 0
	__HAL_TIM_SET_COUNTER(&htim2, 0);
	while (cm < 2) {
		steps = __HAL_TIM_GET_COUNTER(&htim2);
		cm = (float) steps * (conv/10.0) / ppr;
		sprintf(MSG, "Centimeters = %f\n\r    ", cm);
		HAL_UART_Transmit(&huart3, MSG, sizeof(MSG), 40);
	}
	//set pwm to 0 and encoder to 0
	setPWM(htim3, reversePWM, 255, 0);
	setPWM(htim3, forwardPWM, 255, 0);
	__HAL_TIM_SET_COUNTER(&htim2, 0);

}

void setPWM(TIM_HandleTypeDef timer, uint32_t channel, uint16_t period,
		uint16_t pulse) {
	HAL_TIM_PWM_Stop(&timer, channel); // stop generation of pwm
	TIM_OC_InitTypeDef sConfigOC;
	timer.Init.Period = period; // set the period duration
	HAL_TIM_PWM_Init(&timer); // reinititialise with new period value
	sConfigOC.OCMode = TIM_OCMODE_PWM1;
	sConfigOC.Pulse = pulse; // set the pulse duration
	sConfigOC.OCPolarity = TIM_OCPOLARITY_HIGH;
	sConfigOC.OCFastMode = TIM_OCFAST_DISABLE;
	HAL_TIM_PWM_ConfigChannel(&timer, &sConfigOC, channel);
	HAL_TIM_PWM_Start(&timer, channel); // start pwm generation
}

/* USER CODE END 4 */

void StartEncoderTask(void *argument)
{
  /* USER CODE BEGIN 5 */
	uint8_t MSG[50] = { '\0' };
	int32_t steps = 0;
	int16_t mm = 0;
	position pos;
	uint8_t ret[4] = { '\0' };

	/* Infinite loop */
	for (;;) {
		steps = __HAL_TIM_GET_COUNTER(&htim2);
		mm = steps * conv / ppr;
		//sprintf(MSG, "Milimeters = %d\n\r    ", mm);
		//HAL_UART_Transmit(&huart3, MSG, sizeof(MSG), 50);
		pos.pos = mm;
		osMessageQueuePut(positionControlQueueHandle, &pos, NULL, 10);
		osMessageQueuePut(positionCanQueueHandle, &pos, NULL, 10);
		osDelay(100);
	}
  /* USER CODE END 5 */
}

void StartControlTask(void *argument)
{
  /* USER CODE BEGIN StartControlTask */
	uint16_t num1 = 0;
	uint16_t num2 = 0;
	position desPos;
	position pos;
	status statu;
	statu.statusflag = 0x00;
	uint8_t MSG[50] = { '\0' };

	osStatus_t estado;
	/* Infinite loop */
	for (;;) {
		estado = osMessageQueueGet(systemDiagnosisQueueHandle, &statu, NULL, 10);
		if(statu.statusflag != 0x00 ){
			setPWM(htim3, reversePWM, 255, 0);
			setPWM(htim3, forwardPWM, 255, 0);
		}
		else{
			osMessageQueueGet(positionControlQueueHandle, &pos, NULL, 10);
			osMessageQueueGet(desiredPositionQueueHandle, &desPos, NULL, 10);
			num1 = pos.pos;
			num2 = desPos.pos;
			if (num1 > num2 + 2) {
				setPWM(htim3, reversePWM, 255, 255);
				setPWM(htim3, forwardPWM, 255, 0);
			} else if (num1 < num2 - 2) {
				setPWM(htim3, reversePWM, 255, 0);
				setPWM(htim3, forwardPWM, 255, 255);
			} else {
				setPWM(htim3, reversePWM, 255, 0);
				setPWM(htim3, forwardPWM, 255, 0);
			}
		}
		osDelay(50);
	}
  /* USER CODE END StartControlTask */
}

void StartDiagnosisTask(void *argument)
{
  /* USER CODE BEGIN StartDiagnosisTask */
	/* Infinite loop */

	status statusMessage;

	for (;;) {
		maxValue = 2.6; //Volts
		minValue = 0.5; //Volts

		//Initialize ADC and assign variables
		HAL_ADC_Start(&hadc1);
		HAL_ADC_PollForConversion(&hadc1, 100);
		adc_vol = HAL_ADC_GetValue(&hadc1);
		HAL_ADC_Start(&hadc2);
		HAL_ADC_PollForConversion(&hadc2, 100);
		adc_cor = HAL_ADC_GetValue(&hadc2);

		voltage = (adc_vol*3.3)/65536.0; //Volts
		current = (adc_cor*3.3)/65536.0; //Volts

			  //Conditioners
		if((voltage > minValue && voltage < maxValue) && (current < maxValue && current > minValue))
		{
			HAL_GPIO_WritePin(GPIOB, LD1_Pin, GPIO_PIN_SET);
			HAL_GPIO_WritePin(LD2_GPIO_Port, LD2_Pin, GPIO_PIN_RESET);
			HAL_GPIO_WritePin(GPIOB, LD3_Pin, GPIO_PIN_RESET);
			statusMessage.statusflag = 0x0;
		}
		if(voltage <= minValue || voltage >= maxValue)
		{
			HAL_GPIO_WritePin(GPIOB, LD1_Pin, GPIO_PIN_RESET);
			HAL_GPIO_WritePin(LD2_GPIO_Port, LD2_Pin, GPIO_PIN_SET);
			if (voltage <= minValue){
				//Under voltage
				statusMessage.statusflag = 0x1;
			}
			else{
				//Over voltage
				statusMessage.statusflag = 0x2;

			}
			osMessageQueuePut(canDiagnosisQueueHandle, &statusMessage, NULL, 10);
		}
		if(current >= maxValue || current <= minValue)
		{
			HAL_GPIO_WritePin(GPIOB, LD1_Pin, GPIO_PIN_RESET);
			HAL_GPIO_WritePin(GPIOB, LD3_Pin, GPIO_PIN_SET);
			if (current <= minValue){
				//Under current
				statusMessage.statusflag = 0x3;
			}
			else{
							//Over current
				statusMessage.statusflag = 0x4;
			}
			osMessageQueuePut(canDiagnosisQueueHandle, &statusMessage, NULL, 10);
		}

		osMessageQueuePut(systemDiagnosisQueueHandle,&statusMessage, NULL, 10);

		if(voltage > minValue && voltage < maxValue)
		{
			HAL_GPIO_WritePin(LD2_GPIO_Port, LD2_Pin, GPIO_PIN_RESET);
		}
		if(current < maxValue && current > minValue)
		{

			HAL_GPIO_WritePin(GPIOB, LD3_Pin, GPIO_PIN_RESET);
		}

			  //Ends ADC
		HAL_ADC_Stop(&hadc1);
		HAL_ADC_Stop(&hadc2);

		osDelay(400);
	}
  /* USER CODE END StartDiagnosisTask */
}

void StartCanRxTask(void *argument)
{
  /* USER CODE BEGIN StartCanRxTask */
	/* Infinite loop */
	position post;
	post.pos = 0;
	osStatus_t msgStatus;
	for (;;) {
		/* Retrieve Rx messages from RX FIFO0 */
		if (HAL_FDCAN_GetRxMessage(&hfdcan1, FDCAN_RX_FIFO0, &RxHeader, RxData) == HAL_OK)
		{

			if(RxHeader.Identifier == 0x101)
			{
				//HAL_GPIO_TogglePin(GPIOG, GPIO_PIN_6);
				//RxHeader.DataLength = FDCAN_DLC_BYTES_0;
				post.pos = (uint16_t) RxData[7];
			}
		}
		else
		{
		/* Reception Error */
		}
		msgStatus = osMessageQueuePut(desiredPositionQueueHandle, &post, NULL, 10);
		osDelay(300);
	}
  /* USER CODE END StartCanRxTask */
}

void StartCanTxTask(void *argument)
{
  /* USER CODE BEGIN StartCanTxTask */
	/* Infinite loop */

	osStatus_t diagnosisError;
	osStatus_t positionGet;
	status statusMessage;
	position post;

	for (;;) {

		//Send diagnosis message if there is an error
		diagnosisError = osMessageQueueGet(canDiagnosisQueueHandle, &statusMessage , NULL, 10);

		if(diagnosisError == osOK){
			TxHeader.Identifier = 0x159;
			if(statusMessage.statusflag == 0x1){
				TxDataError[0] = 'a';
			}
			else if (statusMessage.statusflag == 0x2){
				TxDataError[0] = 'b';
			}
			else if (statusMessage.statusflag == 0x3){
				TxDataError[0] = 'c';
			}
			else if (statusMessage.statusflag == 0x4){
				TxDataError[0] = 'd';
			}
			else if (statusMessage.statusflag == 0x5){
				TxDataError[0] = 'e';
			}
			if (HAL_FDCAN_AddMessageToTxFifoQ(&hfdcan1, &TxHeader, TxDataError) != HAL_OK){
				Error_Handler();
			}
			else{
				//HAL_GPIO_TogglePin(GPIOE,GPIO_PIN_11);
			}
		}

		//Send position Message
		if(osMessageQueueGetSpace(positionCanQueueHandle) == 0){
			osMessageQueueReset(positionCanQueueHandle);
		}
		else{
			positionGet = osMessageQueueGet(positionCanQueueHandle, &post, NULL, 10);

			if(positionGet == osOK){
				TxHeader.Identifier = 0x140;
				TxDataPos[7] = (uint8_t) post.pos;
				if (HAL_FDCAN_AddMessageToTxFifoQ(&hfdcan1, &TxHeader, TxDataPos) != HAL_OK){
					Error_Handler();
				}
				else{
							//Debug message options
					//HAL_GPIO_TogglePin(GPIOG,GPIO_PIN_14);
				}
			}
		}

		osDelay(350);

	}
  /* USER CODE END StartCanTxTask */
}

void Error_Handler(void)
{
}

/************************ (C) COPYRIGHT STMicroelectronics *****END OF FILE****/
